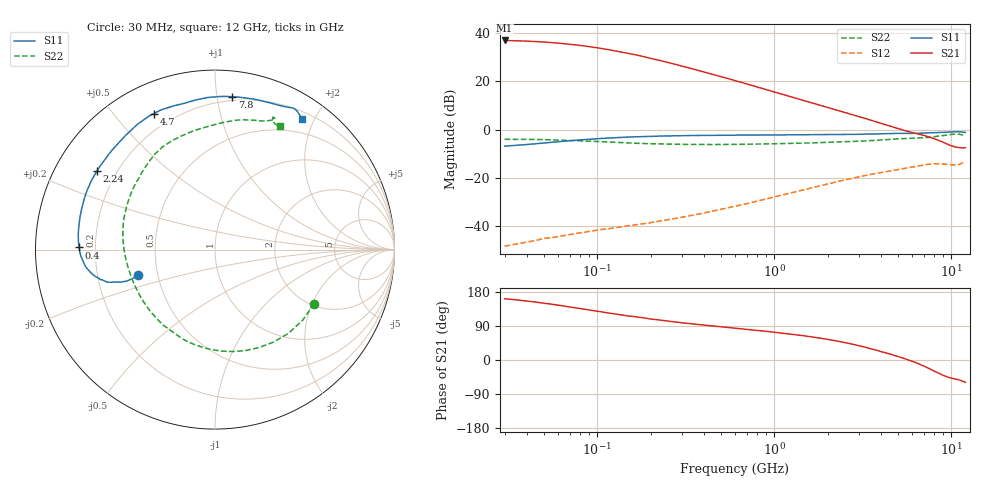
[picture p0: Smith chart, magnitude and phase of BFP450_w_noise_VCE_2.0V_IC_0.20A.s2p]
! (c) 2015  Infineon Technologies AG, Munich
! Infineon Technologies  Discrete & RF Semiconductors
! BFP450
! VCE =  2.0 V,  IC = 0.20 A
! Common Emitter S-Parameters:  Nov 2015
# GHz  S  MA  R  50
!  f  S11  S21  S12  S22
! GHz  MAG  ANG  MAG  ANG  MAG  ANG  MAG  ANG
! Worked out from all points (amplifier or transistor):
!   239 points, 30 MHz to 12 GHz, reference 50 ohm
!   highest |S21| = 37.0 dB at 30 MHz (marker M1)
!   |S21| within 3 dB of that: start of sweep to 98.98 MHz
!   unconditionally stable (mu >= 1): 547.2 MHz to end of sweep
!   at 300 MHz: K = 0.88, MSG = 31.4 dB, |S12| = -36.4 dB
!   at 1.88 GHz: K = 1.13, MAG = 14.2 dB, |S12| = -23.1 dB
!   at 12 GHz: K = 1.09, MAG = 1.0 dB, |S12| = -13.3 dB
!   lowest NFmin = 3.03 dB at 450 MHz
!   S11 on the Smith chart (normalised r, x): 30 MHz: 0.39, -0.14; 400 MHz: 0.14, +0.01; 2.24 GHz: 0.13, +0.30; 4.7 GHz: 0.13, +0.64; 7.8 GHz: 0.17, +1.11; 12 GHz: 0.29, +1.82
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0.03  0.4528 -161.6  70.8 161.7  0.0038 82.2  0.6299 -28.5
0.04  0.4891 -160.6  68.58 155.6  0.0046 76.5  0.6273 -38.9
0.05  0.5259 -160.4  65.74 149.8  0.0055 70.5  0.6205 -48.8
0.06  0.5601 -161.1  62.41 144.9  0.006 68.0  0.6097 -57.7
0.07  0.5878 -162.1  59.07 139.8  0.0066 66.4  0.598 -65.9
0.085  0.6207 -163.0  54.31 134.0  0.0074 63.7  0.5809 -76.8
0.09  0.6304 -163.4  52.76 132.0  0.0077 62.4  0.5763 -80.3
0.11  0.6605 -165.4  47.18 125.7  0.0086 60.9  0.5573 -92.0
0.13  0.683 -167.3  42.24 120.5  0.0093 60.1  0.542 -101.8
0.15  0.7009 -169.1  38.06 116.1  0.0101 59.8  0.5298 -110.0
0.2  0.7277 -172.5  30.03 108.1  0.0117 59.8  0.5097 -125.2
0.24  0.7368 -174.7  25.75 103.8  0.0131 60.6  0.4998 -133.6
0.3  0.7489 -177.4  20.79 98.2  0.0151 62.0  0.4933 -143.4
0.4  0.7571 179.1  15.69 91.9  0.0185 63.8  0.4898 -154.1
0.6  0.7663 174.2  10.36 83.7  0.0256 65.5  0.4933 -166.7
1  0.7736 166.5  6.022 73.3  0.0399 64.5  0.5078 179.3
1.64  0.784 155.9  3.562 60.8  0.0623 58.8  0.5295 165.0
2.24  0.7897 146.5  2.552 50.3  0.0819 51.8  0.5479 153.9
4.5  0.8297 116.3  1.175 15.5  0.1383 25.3  0.6277 122.5
4.7  0.8308 114.2  1.123 13.1  0.1422 23.2  0.633 120.4
7.8  0.857 83.5  0.668 -26.6  0.1936 -10.6  0.7027 88.2
12  0.875 56.5  0.421 -58.9  0.2154 -40.2  0.7778 62.1
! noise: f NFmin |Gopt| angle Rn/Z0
0.45  3.03  0.73  -171  0.08
0.9  3.05  0.75  -165  0.11
1.9  3.2  0.76  -148  0.3
2.4  3.28  0.75  -138  0.47
